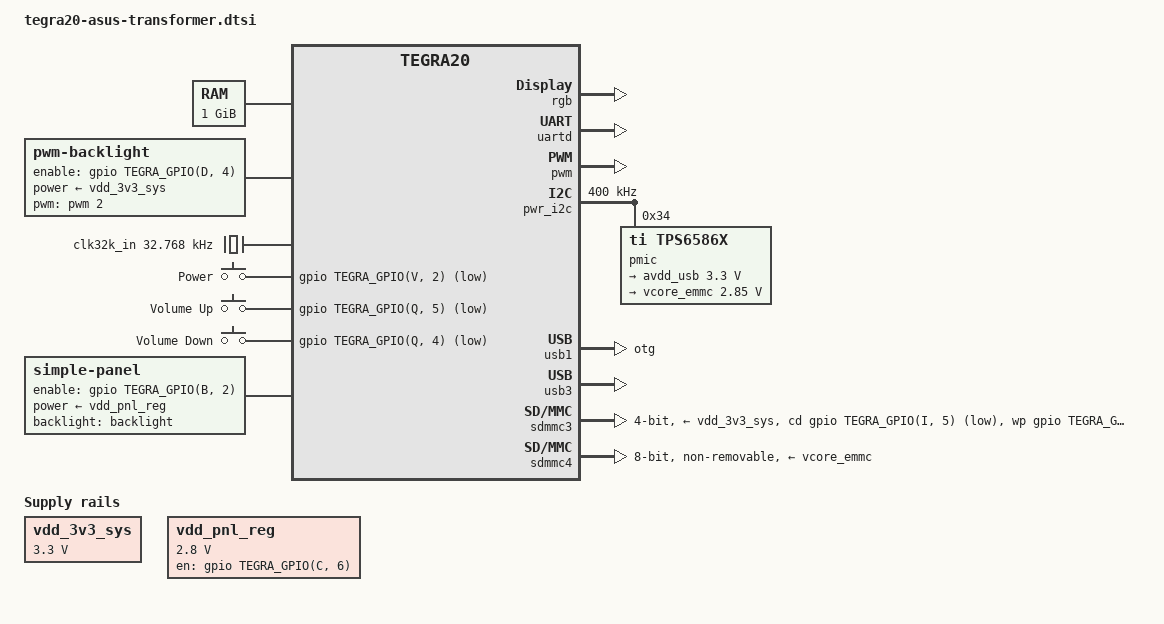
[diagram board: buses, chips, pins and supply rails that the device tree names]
// SPDX-License-Identifier: GPL-2.0

#include <dt-bindings/input/input.h>
#include "tegra20.dtsi"

/ {
	chosen {
		stdout-path = &uartd;
	};

	aliases {
		i2c0 = &pwr_i2c;

		mmc0 = &sdmmc4; /* eMMC */
		mmc1 = &sdmmc3; /* MicroSD */

		rtc0 = &pmic;
		rtc1 = "/rtc@7000e000";

		usb0 = &usb1;
		usb1 = &usb3; /* Dock USB */
	};

	memory {
		device_type = "memory";
		reg = <0x00000000 0x40000000>;
	};

	host1x@50000000 {
		dc@54200000 {
			rgb {
				status = "okay";

				nvidia,panel = <&panel>;
			};
		};
	};

	uartd: serial@70006300 {
		status = "okay";
		clock-frequency = <216000000>;
	};

	pwm: pwm@7000a000 {
		status = "okay";
	};

	pwr_i2c: i2c@7000d000 {
		status = "okay";
		clock-frequency = <400000>;

		pmic: tps6586x@34 {
			compatible = "ti,tps6586x";
			reg = <0x34>;
			interrupts = <GIC_SPI 86 IRQ_TYPE_LEVEL_HIGH>;

			ti,system-power-controller;

			#gpio-cells = <2>;
			gpio-controller;

			regulators {
				avdd_usb: ldo3 {
					regulator-name = "vdd_ldo3,avdd_usb*";
					regulator-min-microvolt = <3300000>;
					regulator-max-microvolt = <3300000>;
					regulator-always-on;
					regulator-boot-on;
				};

				vcore_emmc: ldo5 {
					regulator-name = "vdd_ldo5,vcore_mmc";
					regulator-min-microvolt = <2850000>;
					regulator-max-microvolt = <2850000>;
				};
			};
		};
	};

	/* USB via ASUS connector */
	usb1: usb@c5000000 {
		status = "okay";
		dr_mode = "otg";
	};

	usb-phy@c5000000 {
		status = "okay";
		nvidia,xcvr-setup-use-fuses;
	};

	/* Dock's USB port */
	usb3: usb@c5008000 {
		status = "okay";
	};

	sdmmc3: sdhci@c8000400 {
		status = "okay";
		bus-width = <4>;

		cd-gpios = <&gpio TEGRA_GPIO(I, 5) GPIO_ACTIVE_LOW>;
		wp-gpios = <&gpio TEGRA_GPIO(H, 1) GPIO_ACTIVE_HIGH>;
		power-gpios = <&gpio TEGRA_GPIO(I, 6) GPIO_ACTIVE_HIGH>;

		vmmc-supply = <&vdd_3v3_sys>;
		vqmmc-supply = <&vdd_3v3_sys>;
	};

	sdmmc4: sdhci@c8000600 {
		status = "okay";
		bus-width = <8>;
		non-removable;

		vmmc-supply = <&vcore_emmc>;
		vqmmc-supply = <&vdd_3v3_sys>;
	};

	backlight: backlight {
		compatible = "pwm-backlight";

		enable-gpios = <&gpio TEGRA_GPIO(D, 4) GPIO_ACTIVE_HIGH>;
		power-supply = <&vdd_3v3_sys>;
		pwms = <&pwm 2 4000000>;

		brightness-levels = <1 35 70 105 140 175 210 255>;
		default-brightness-level = <5>;
	};

	/* PMIC has a built-in 32KHz oscillator which is used by PMC */
	clk32k_in: clock-32k-in {
		compatible = "fixed-clock";
		#clock-cells = <0>;
		clock-frequency = <32768>;
		clock-output-names = "pmic-oscillator";
	};

	gpio-keys {
		compatible = "gpio-keys";

		key-power {
			label = "Power";
			gpios = <&gpio TEGRA_GPIO(V, 2) GPIO_ACTIVE_LOW>;
			linux,code = <KEY_ENTER>;
		};

		key-volume-up {
			label = "Volume Up";
			gpios = <&gpio TEGRA_GPIO(Q, 5) GPIO_ACTIVE_LOW>;
			linux,code = <KEY_UP>;
		};

		key-volume-down {
			label = "Volume Down";
			gpios = <&gpio TEGRA_GPIO(Q, 4) GPIO_ACTIVE_LOW>;
			linux,code = <KEY_DOWN>;
		};
	};

	panel: panel {
		compatible = "simple-panel";

		power-supply = <&vdd_pnl_reg>;
		enable-gpios = <&gpio TEGRA_GPIO(B, 2) GPIO_ACTIVE_HIGH>;

		backlight = <&backlight>;

		display-timings {
			timing@0 {
				clock-frequency = <71200000>;

				hactive = <1280>;
				hfront-porch = <8>;
				hback-porch = <18>;
				hsync-len = <184>;

				vactive = <800>;
				vfront-porch = <4>;
				vback-porch = <8>;
				vsync-len = <3>;
			};
		};
	};

	vdd_3v3_sys: regulator-3v3 {
		compatible = "regulator-fixed";
		regulator-name = "vdd_3v3_vs";
		regulator-min-microvolt = <3300000>;
		regulator-max-microvolt = <3300000>;
		regulator-always-on;
	};

	vdd_pnl_reg: regulator-pnl {
		compatible = "regulator-fixed";
		regulator-name = "vdd_panel";
		regulator-min-microvolt = <2800000>;
		regulator-max-microvolt = <2800000>;
		gpio = <&gpio TEGRA_GPIO(C, 6) GPIO_ACTIVE_HIGH>;
		enable-active-high;
	};
};
